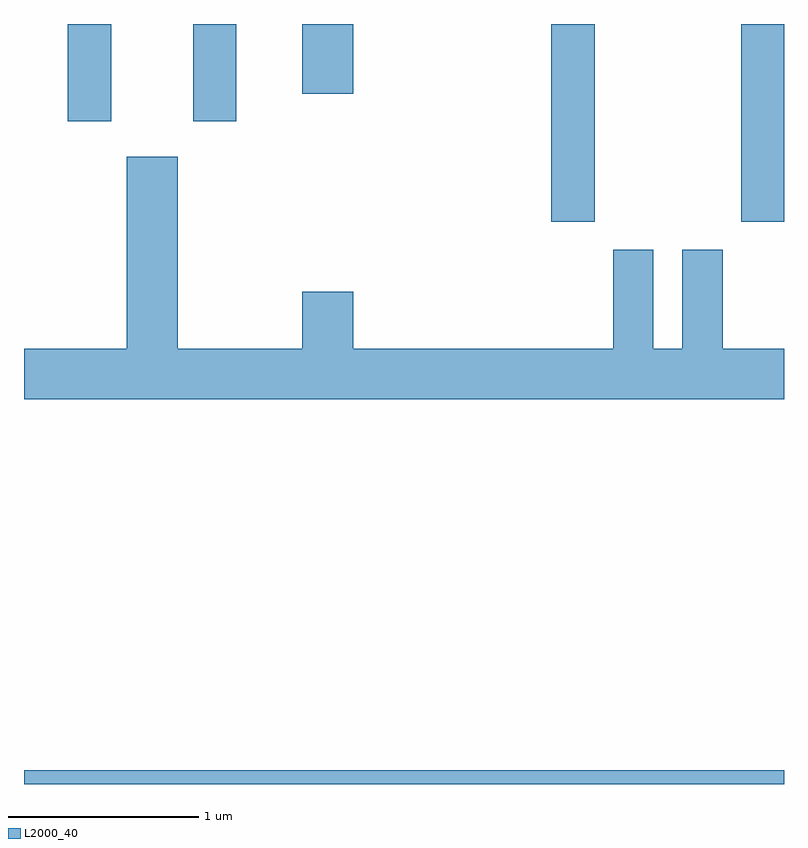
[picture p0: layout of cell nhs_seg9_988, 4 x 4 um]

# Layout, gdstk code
import gdstk
lib = gdstk.Library(unit=1e-6, precision=1e-09)
def R(c, l, rs):  # rectangles x0, y0, x1, y1
    for r in rs: c.add(gdstk.rectangle(r[:2], r[2:], *l))
def P(c, l, *ps):  # polygons
    for p in ps: c.add(gdstk.Polygon(p, *l))
L2000_40 = (2000, 40)

nhs_seg9_988 = lib.new_cell('nhs_seg9_988')
R(nhs_seg9_988, L2000_40, [(213.611,2016.432,217.611,2016.504), (216.386,2019.391,216.614,2020.432), (217.386,2019.391,217.611,2020.432), (213.841,2019.921,214.069,2020.432), (214.501,2019.921,214.729,2020.432), (215.076,2020.066,215.344,2020.432)])
P(nhs_seg9_988, L2000_40, [(217.611,2018.724),(217.289,2018.724),(217.289,2019.244),(217.076,2019.244),(217.076,2018.724),(216.924,2018.724),(216.924,2019.244),(216.711,2019.244),(216.711,2018.724),(215.344,2018.724),(215.344,2019.024),(215.076,2019.024),(215.076,2018.724),(214.419,2018.724),(214.419,2019.734),(214.151,2019.734),(214.151,2018.724),(213.611,2018.724),(213.611,2018.456),(217.611,2018.456)])

lib.write_gds('nhs_seg9_988.gds')
